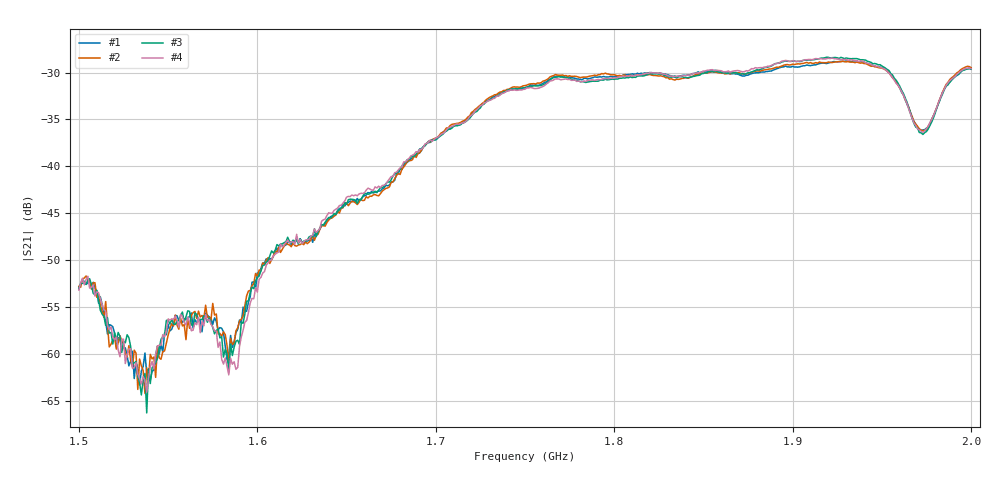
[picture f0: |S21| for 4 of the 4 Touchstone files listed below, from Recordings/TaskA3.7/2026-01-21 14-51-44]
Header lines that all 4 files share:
! NanoVNA-App by SYSJOINT et al v1.1.209 (+OD18)
! Start: 1,5GHz Stop: 2GHz Points: 501
! S-Parameter data: F S11 S21 S12 S22
# Hz S RI R 50
!  Frequency  S11_Real  S11_Imag  S21_Real  S21_Imag  S12_Real  S12_Imag  S22_Real  S22_Imag
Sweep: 1.5 GHz to 2 GHz
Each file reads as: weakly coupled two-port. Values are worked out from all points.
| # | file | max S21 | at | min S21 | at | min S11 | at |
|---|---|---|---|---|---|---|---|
| 1 | 0.s2p | -28.77 dB | 1.934 GHz | -63.3 dB | 1.534 GHz | -31.5 dB | 1.817 GHz |
| 2 | 1.s2p | -28.77 dB | 1.928 GHz | -64.2 dB | 1.537 GHz | -30.7 dB | 1.817 GHz |
| 3 | 2.s2p | -28.37 dB | 1.919 GHz | -66.3 dB | 1.538 GHz | -31.9 dB | 1.817 GHz |
| 4 | 3.s2p | -28.45 dB | 1.922 GHz | -64.1 dB | 1.538 GHz | -32.3 dB | 1.817 GHz |
